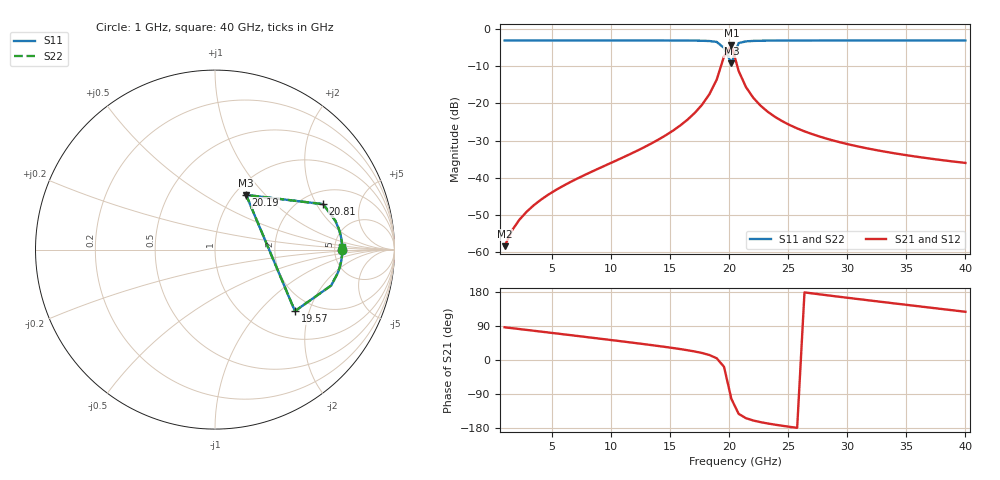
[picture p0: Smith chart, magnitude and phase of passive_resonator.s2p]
! passive_resonator
! Shunt resonator, Q=30 at 20 GHz. Sharp phase slope near resonance -- the case where a group-delay check without phase unwrapping fails.
# HZ S RI R 50
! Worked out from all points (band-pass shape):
!   64 points, 1 GHz to 40 GHz, reference 50 ohm
!   highest |S21| = -4.20 dB at 20.19 GHz (marker M1); lowest = -58.5 dB at 1 GHz (marker M2)
!   |S21| within 3 dB of the highest: 19.59 GHz to 20.45 GHz (867.4 MHz wide, 4.33 % of centre)
!   lowest |S11| = -9.1 dB at 20.19 GHz (marker M3), VSWR 2.08, Z = 56.5 + j39.2 ohm
!   |S11| at or under -10 dB: nowhere
!   |S22| runs from -9.1 to -3.0 dB; largest |S21 - S12| = 0
!   S11 on the Smith chart (normalised r, x): 1 GHz: 5.87, -0.03; 19.57 GHz: 1.61, -1.61; 20.19 GHz: 1.13, +0.78; 20.81 GHz: 2.58, +2.28; 40 GHz: 5.84, +0.37
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1e9  0.7089 -0.00118  7.64e-05 0.00118  7.64e-05 0.00118  0.7089 -0.00118
1.619048e9  0.7089 -0.00193  0.000201 0.00192  0.000201 0.00192  0.7089 -0.00193
2.238095e9  0.7089 -0.00268  0.000385 0.00265  0.000385 0.00265  0.7089 -0.00268
3.47619e9  0.7089 -0.00424  0.000942 0.00413  0.000942 0.00413  0.7089 -0.00424
5.333333e9  0.7089 -0.00678  0.00229 0.00638  0.00229 0.00638  0.7089 -0.00678
7.809524e9  0.7088 -0.0109  0.00528 0.00952  0.00528 0.00952  0.7088 -0.0109
1.4e10  0.7075 -0.0324  0.0259 0.0195  0.0259 0.0195  0.7075 -0.0324
1.585714e10  0.7054 -0.0502  0.0441 0.0243  0.0441 0.0243  0.7054 -0.0502
1.771429e10  0.6959 -0.0953  0.0913 0.0304  0.0913 0.0304  0.6959 -0.0953
1.833333e10  0.6839 -0.1308  0.1297 0.0303  0.1297 0.0303  0.6839 -0.1308
1.895238e10  0.6469 -0.2003  0.209 0.0167  0.209 0.0167  0.6469 -0.2003
1.957143e10  0.4453 -0.3426  0.4111 -0.1338  0.4111 -0.1338  0.4453 -0.3426
2.019048e10  0.1733 0.3047  -0.1314 -0.6021  -0.1314 -0.6021  0.1733 0.3047
2.080952e10  0.6027 0.2531  -0.2167 -0.1685  -0.2167 -0.1685  0.6027 0.2531
2.142857e10  0.6699 0.1617  -0.149 -0.074  -0.149 -0.074  0.6699 0.1617
2.204762e10  0.6889 0.1176  -0.1119 -0.0414  -0.1119 -0.0414  0.6889 0.1176
2.266667e10  0.6966 0.0925  -0.0897 -0.0257  -0.0897 -0.0257  0.6966 0.0925
2.452381e10  0.7043 0.0572  -0.057 -0.00635  -0.057 -0.00635  0.7043 0.0572
2.7e10  0.7068 0.0387  -0.0386 0.00275  -0.0386 0.00275  0.7068 0.0387
3.009524e10  0.7078 0.0281  -0.027 0.00778  -0.027 0.00778  0.7078 0.0281
3.380952e10  0.7083 0.0215  -0.0186 0.0107  -0.0186 0.0107  0.7083 0.0215
4e10  0.7086 0.0157  -0.00954 0.0125  -0.00954 0.0125  0.7086 0.0157
